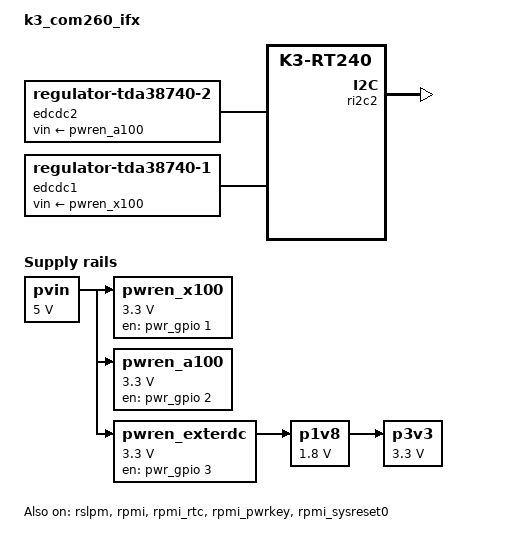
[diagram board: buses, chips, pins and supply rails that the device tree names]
/*
 * Copyright (c) 2022-2025, Spacemit
 *
 * SPDX-License-Identifier: Apache-2.0
 */

/dts-v1/;

#include "../../../k3.dtsi"
#include "../../../k3-pinctrl.dtsi"

/ {
	model = "k3_com260_ifx";
};

&cpu_0 {
	reg = <0>;
	cpu_frequency = <614400000>;
	rcpu_frequency = <491000000>;
	apb_frequency = <245000000>;
	axi_frequency = <491000000>;
	clocks = <&ccu CLK_RCPU_RT24_CORE0>, <&ccu CLK_RCPU_APB>, <&ccu CLK_RCPU_AXI>, <&ccu CLK_RCPU>;
};

&pinctrl {
  status = "okay";
};

&gpio {
	status = "okay";
};

&r_gpio {
	status = "okay";
};

&pwr_gpio {
    status = "okay";
};

&uart0 {
	status = "disabled";
};

&mailbox3 {
	status = "okay";
};

&mailbox4 {
	status = "disabled";
};

&mailbox5 {
	status = "disabled";
};

&mailbox6 {
	status = "disabled";
};

&mailbox7 {
	rcpu-communicate = <1>;
	status = "okay";
};

&rslpm {
	mbox-names = "tx", "rx";
	mboxes = <&mailbox7 0>, <&mailbox7 1>;
	status = "okay";
};

&rproc {
	status = "disabled";
	shared_mem_pa_base = <0x0 0xc0876000>;
	shared_mem_buf_offset = <0x3fe8a000>;
	shared_mem_size	= <0x3ff86000>;
	mboxes = <&mailbox3 1>, <&mailbox3 2>;
};

&rpmi {
	status = "okay";
	shmem-base = <0x1 0xe00000>;
	mboxes = <&mailbox3 0>;
};

&ri2c2 {
	pinctrl-names = "default";
	pinctrl-0 = <&ri2c2_cfg>;
	status = "okay";
};

&rwdt {
	reg = <0xc0889000 0x100>, <0xd4050000 0x1030>;
	clocks = <&ccu CLK_RCPU_TIMER1>, <&ccu CLK_RST_RCPU_TIMER1>;
};

&aliases {
	regulator-fixed0 = <&pvin>;
	regulator-fixed1 = <&p3v3>;
	regulator-fixed2 = <&p1v8>;
	regulator-fixed3 = <&pwren_x100>;
	regulator-fixed4 = <&pwren_a100>;
	regulator-fixed5 = <&pwren_exterdc>;

	regulator-dynamic0 = <&edcdc1>;
	regulator-dynamic1 = <&dcdc1>;
	regulator-dynamic2 = <&dcdc_3>;
	regulator-dynamic3 = <&dcdc_4>;
	regulator-dynamic4 = <&dcdc_5>;
	regulator-dynamic5 = <&dcdc_6>;
	regulator-dynamic6 = <&aldo_1>;
	regulator-dynamic7 = <&aldo_2>;
	regulator-dynamic8 = <&aldo_3>;
	regulator-dynamic9 = <&aldo_4>;
	regulator-dynamic10 = <&dldo_1>;
	regulator-dynamic11 = <&dldo_2>;
	regulator-dynamic12 = <&dldo_3>;
	regulator-dynamic13 = <&dldo_4>;
	regulator-dynamic14 = <&dldo_5>;
	regulator-dynamic15 = <&dldo_6>;
	regulator-dynamic16 = <&dldo_7>;
	regulator-dynamic17 = <&edcdc2>;
};

&rpmi_voltage {
	pvin-supply = <&pvin>;
	edcdc2-supply = <&edcdc2>;
	edcdc1-supply = <&edcdc1>;
	p3v3-supply = <&p3v3>;
	p1v8-supply = <&p1v8>;
	dcdc1-supply = <&dcdc1>;
	dcdc3-supply = <&dcdc_3>;
	dcdc4-supply = <&dcdc_4>;
	dcdc5-supply = <&dcdc_5>;
	dcdc6-supply = <&dcdc_6>;
	aldo1-supply = <&aldo_1>;
	aldo2-supply = <&aldo_2>;
	aldo3-supply = <&aldo_3>;
	aldo4-supply = <&aldo_4>;
	dldo1-supply = <&dldo_1>;
	dldo2-supply = <&dldo_2>;
	dldo3-supply = <&dldo_3>;
	dldo4-supply = <&dldo_4>;
	dldo5-supply = <&dldo_5>;
	dldo6-supply = <&dldo_6>;
	dldo7-supply = <&dldo_7>;
	pwr_x100-supply = <&pwren_x100>;
	pwr_a100-supply = <&pwren_a100>;
	pwr_ext-supply = <&pwren_exterdc>;
};

&rpmi_hsm {
	bootcore_index = <0>;
};

&rpmi_rtc {
	bind_driver = "ri2c2";
	slave_addr = <0x41>;
	status = "okay";
};

&rpmi_pwrkey {
	bind_driver = "ri2c2";
	slave_addr = <0x41>;
	status = "okay";
};

&rpmi_sysreset0 {
	compatible = "k3-os0-rpmi-sysreset";
	shutdown-gpio = <88>;
	status = "okay";
};

&regulators {
	pvin: pvin {
		compatible = "regulator-fixed";
		regulator-name = "pvin";
		regulator-boot-on;
		regulator-min-microvolt = <5000000>;
		regulator-max-microvolt = <5000000>;
		index = <0>;
	};

	/* a100 */
	edcdc2: edcdc2 {
		bind_driver = "ri2c2";
		slave_addr = <0x4f>;
		compatible = "regulator-tda38740-2";
		regulator-name = "edcdc2";
		regulator-min-microvolt = <534000>;
		regulator-max-microvolt = <1100000>;
		vin-supply = <&pwren_a100>;
		index = <22>;
	};

	/* x100 */
	edcdc1: edcdc1 {
		bind_driver = "ri2c2";
		slave_addr = <0x42>;
		compatible = "regulator-tda38740-1";
		regulator-name = "edcdc1";
		regulator-min-microvolt = <534000>;
		regulator-max-microvolt = <1100000>;
		vin-supply = <&pwren_x100>;
		index = <23>;
	};

	/* 3v3 */
	p3v3: p3v3 {
		compatible = "regulator-fixed";
		regulator-name = "p3v3";
		regulator-min-microvolt = <3300000>;
		regulator-max-microvolt = <3300000>;
		vin-supply = <&p1v8>;
		index = <3>;
	};

	/* 1v8 */
	p1v8: p1v8 {
		compatible = "regulator-fixed";
		regulator-name = "p1v8";
		regulator-min-microvolt = <1800000>;
		regulator-max-microvolt = <1800000>;
		vin-supply = <&pwren_exterdc>;
		index = <2>;
	};

	p1: p1 {
		compatible = "p1-regulator", "regulator-dynamic";
		bind_driver = "ri2c2";
		slave_addr = <0x41>;
		num_regulators = <19>;

		dcdc1: DCDC_REG12 {
			compatible = "regulator-dynamic";
			regulator-name = "dcdc1";
			regulator-min-microvolt = <500000>;
			regulator-max-microvolt = <3450000>;
			regulator-ramp-delay = <5000>;
			vin-supply = <&pvin>;
			index = <6>;
		};

		dcdc_3: DCDC_REG3 {
			compatible = "regulator-dynamic";
                        regulator-name = "dcdc3";
			regulator-min-microvolt = <500000>;
			regulator-max-microvolt = <3450000>;
                        regulator-ramp-delay = <5000>;
			vin-supply = <&pvin>;
			index = <7>;
		};

		dcdc_4: DCDC_REG4 {
			compatible = "regulator-dynamic";
                        regulator-name = "dcdc4";
			regulator-min-microvolt = <500000>;
			regulator-max-microvolt = <3450000>;
                        regulator-ramp-delay = <5000>;
			vin-supply = <&pvin>;
			index = <8>;
		};

		dcdc_5: DCDC_REG5 {
			compatible = "regulator-dynamic";
                        regulator-name = "dcdc5";
			regulator-min-microvolt = <500000>;
			regulator-max-microvolt = <3450000>;
                        regulator-ramp-delay = <5000>;
			vin-supply = <&pvin>;
			index = <9>;
		};

		dcdc_6: DCDC_REG6 {
			compatible = "regulator-dynamic";
                        regulator-name = "dcdc6";
			regulator-min-microvolt = <500000>;
			regulator-max-microvolt = <3450000>;
                        regulator-ramp-delay = <5000>;
			vin-supply = <&pvin>;
			index = <10>;
		};

		/* aldo */
		aldo_1: LDO_REG1 {
			compatible = "regulator-dynamic";
                        regulator-name = "aldo1";
			regulator-min-microvolt = <500000>;
			regulator-max-microvolt = <3400000>;
			vin-supply = <&pvin>;
			index = <11>;
		};

		aldo_2: LDO_REG2 {
			compatible = "regulator-dynamic";
                        regulator-name = "aldo2";
			regulator-min-microvolt = <500000>;
			regulator-max-microvolt = <3400000>;
			vin-supply = <&pvin>;
			index = <12>;
		};

		aldo_3: LDO_REG3 {
			compatible = "regulator-dynamic";
                        regulator-name = "aldo3";
			regulator-min-microvolt = <500000>;
			regulator-max-microvolt = <3400000>;
			vin-supply = <&pvin>;
			index = <13>;
		};

		aldo_4: LDO_REG4 {
			compatible = "regulator-dynamic";
                        regulator-name = "aldo4";
			regulator-min-microvolt = <500000>;
			regulator-max-microvolt = <3400000>;
			vin-supply = <&pvin>;
			index = <14>;
		};

		/* dldo */
		dldo_1: LDO_REG5 {
			compatible = "regulator-dynamic";
                        regulator-name = "dldo1";
			regulator-min-microvolt = <500000>;
			regulator-max-microvolt = <3400000>;
			vin-supply = <&pvin>;
			index = <15>;
		};

		dldo_2: LDO_REG6 {
			compatible = "regulator-dynamic";
                        regulator-name = "dldo2";
			regulator-min-microvolt = <500000>;
			regulator-max-microvolt = <3400000>;
			vin-supply = <&pvin>;
			index = <16>;
		};

		dldo_3: LDO_REG7 {
			compatible = "regulator-dynamic";
                        regulator-name = "dldo3";
			regulator-min-microvolt = <500000>;
			regulator-max-microvolt = <3400000>;
			vin-supply = <&pvin>;
			index = <17>;
		};

		dldo_4: LDO_REG8 {
			compatible = "regulator-dynamic";
                        regulator-name = "dldo4";
			regulator-min-microvolt = <500000>;
			regulator-max-microvolt = <3400000>;
			vin-supply = <&pvin>;
			index = <18>;
		};

		dldo_5: LDO_REG9 {
			compatible = "regulator-dynamic";
                        regulator-name = "dldo5";
			regulator-min-microvolt = <500000>;
			regulator-max-microvolt = <3400000>;
			vin-supply = <&pvin>;
			index = <19>;
		};

		dldo_6: LDO_REG10 {
			compatible = "regulator-dynamic";
                        regulator-name = "dldo6";
			regulator-min-microvolt = <500000>;
			regulator-max-microvolt = <3400000>;
			vin-supply = <&pvin>;
			index = <20>;
		};

		dldo_7: LDO_REG11 {
			compatible = "regulator-dynamic";
                        regulator-name = "dldo7";
			regulator-min-microvolt = <500000>;
			regulator-max-microvolt = <3400000>;
			vin-supply = <&pvin>;
			index = <21>;
		};

		pwren_x100: pwren_x100 {
			compatible = "regulator-fixed";
			regulator-name = "pwr_x100";
			regulator-min-microvolt = <3300000>;
			regulator-max-microvolt = <3300000>;
			enable-active-high = <1>;
			enable-gpios = <&pwr_gpio 1 0>;
			vin-supply = <&pvin>;
			index = <4>;
		};

		pwren_a100: pwren_a100 {
			compatible = "regulator-fixed";
			regulator-name = "pwr_a100";
			regulator-min-microvolt = <3300000>;
			regulator-max-microvolt = <3300000>;
			enable-active-high = <1>;
			vin-supply = <&pvin>;
			enable-gpios = <&pwr_gpio 2 0>;
			index = <5>;
		};

		pwren_exterdc: pwren_extdc {
			compatible = "regulator-fixed";
			regulator-name = "pwr_ext";
			regulator-min-microvolt = <3300000>;
			regulator-max-microvolt = <3300000>;
			enable-active-high = <1>;
			vin-supply = <&pvin>;
			enable-gpios = <&pwr_gpio 3 0>;
			index = <1>;
		};
	};
};
